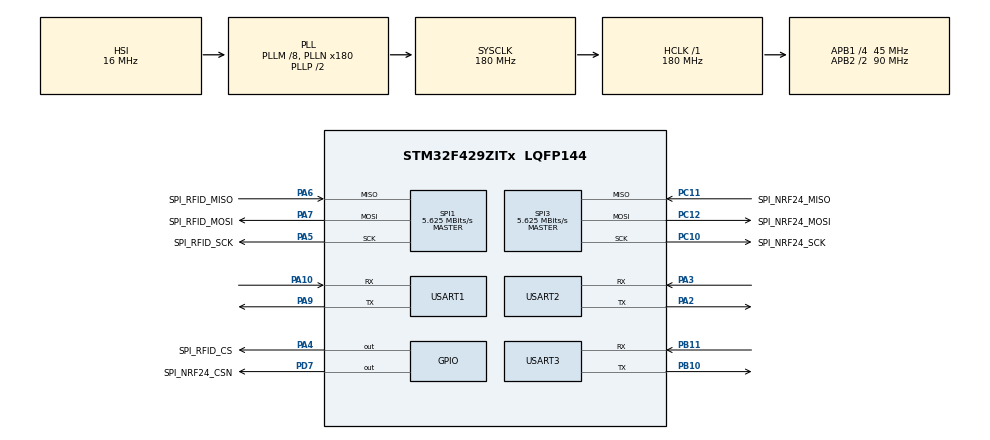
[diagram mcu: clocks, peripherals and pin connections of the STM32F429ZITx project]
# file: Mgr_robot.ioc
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Mcu.Family=STM32F4
Mcu.Name=STM32F429ZITx
Mcu.Package=LQFP144
NVIC.PriorityGroup=NVIC_PRIORITYGROUP_4
NVIC.SPI1_IRQn=true\:0\:0\:false\:true\:true\:1\:true\:true
NVIC.SPI3_IRQn=true\:0\:0\:false\:true\:true\:5\:true\:true
NVIC.USART1_IRQn=true\:0\:0\:false\:true\:true\:2\:true\:true
NVIC.USART2_IRQn=true\:0\:0\:false\:true\:true\:3\:true\:true
NVIC.USART3_IRQn=true\:0\:0\:false\:true\:true\:4\:true\:true
PA10.Mode=Asynchronous
PA10.Signal=USART1_RX
PA2.Mode=Asynchronous
PA2.Signal=USART2_TX
PA3.Mode=Asynchronous
PA3.Signal=USART2_RX
PA4.GPIO_Label=SPI_RFID_CS
PA4.Signal=GPIO_Output
PA5.GPIO_Label=SPI_RFID_SCK
PA5.Mode=Full_Duplex_Master
PA5.Signal=SPI1_SCK
PA6.GPIO_Label=SPI_RFID_MISO
PA6.Mode=Full_Duplex_Master
PA6.Signal=SPI1_MISO
PA7.GPIO_Label=SPI_RFID_MOSI
PA7.Mode=Full_Duplex_Master
PA7.Signal=SPI1_MOSI
PA9.Mode=Asynchronous
PA9.Signal=USART1_TX
PB10.Mode=Asynchronous
PB10.Signal=USART3_TX
PB11.Mode=Asynchronous
PB11.Signal=USART3_RX
PC10.GPIO_Label=SPI_NRF24_SCK
PC10.Mode=Full_Duplex_Master
PC10.Signal=SPI3_SCK
PC11.GPIO_Label=SPI_NRF24_MISO
PC11.Mode=Full_Duplex_Master
PC11.Signal=SPI3_MISO
PC12.GPIO_Label=SPI_NRF24_MOSI
PC12.Mode=Full_Duplex_Master
PC12.Signal=SPI3_MOSI
PD7.GPIO_Label=SPI_NRF24_CSN
PD7.Signal=GPIO_Output
ProjectManager.HeapSize=0x200
ProjectManager.StackSize=0x400
ProjectManager.TargetToolchain=TrueSTUDIO
RCC.48MHZClocksFreq_Value=90000000
RCC.AHBFreq_Value=180000000
RCC.APB1CLKDivider=RCC_HCLK_DIV4
RCC.APB1Freq_Value=45000000
RCC.APB1TimFreq_Value=90000000
RCC.APB2CLKDivider=RCC_HCLK_DIV2
RCC.APB2Freq_Value=90000000
RCC.APB2TimFreq_Value=180000000
RCC.CortexFreq_Value=180000000
RCC.HCLKFreq_Value=180000000
RCC.HSE_VALUE=25000000
RCC.HSI_VALUE=16000000
RCC.LSE_VALUE=32768
RCC.PLLM=8
RCC.PLLN=180
RCC.SYSCLKFreq_VALUE=180000000
RCC.SYSCLKSource=RCC_SYSCLKSOURCE_PLLCLK
RCC.VCOOutputFreq_Value=360000000
SPI1.BaudRatePrescaler=SPI_BAUDRATEPRESCALER_16
SPI1.CalculateBaudRate=5.625 MBits/s
SPI1.Direction=SPI_DIRECTION_2LINES
SPI1.Mode=SPI_MODE_MASTER
SPI1.VirtualType=VM_MASTER
SPI3.BaudRatePrescaler=SPI_BAUDRATEPRESCALER_8
SPI3.CalculateBaudRate=5.625 MBits/s
SPI3.Direction=SPI_DIRECTION_2LINES
SPI3.Mode=SPI_MODE_MASTER
SPI3.VirtualType=VM_MASTER
USART1.VirtualMode=VM_ASYNC
USART2.VirtualMode=VM_ASYNC
USART3.VirtualMode=VM_ASYNC
board=custom

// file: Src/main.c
/* USER CODE BEGIN Header */
/**
 ******************************************************************************
 * @file           : main.c
 * @brief          : Main program body
 ******************************************************************************
 ** This notice applies to any and all portions of this file
 * that are not between comment pairs USER CODE BEGIN and
 * USER CODE END. Other portions of this file, whether
 * inserted by the user or by software development tools
 * are owned by their respective copyright owners.
 *
 * COPYRIGHT(c) 2018 STMicroelectronics
 *
 * Redistribution and use in source and binary forms, with or without modification,
 * are permitted provided that the following conditions are met:
 *   1. Redistributions of source code must retain the above copyright notice,
 *      this list of conditions and the following disclaimer.
 *   2. Redistributions in binary form must reproduce the above copyright notice,
 *      this list of conditions and the following disclaimer in the documentation
 *      and/or other materials provided with the distribution.
 *   3. Neither the name of STMicroelectronics nor the names of its contributors
 *      may be used to endorse or promote products derived from this software
 *      without specific prior written permission.
 *
 * THIS SOFTWARE IS PROVIDED BY THE COPYRIGHT HOLDERS AND CONTRIBUTORS "AS IS"
 * AND ANY EXPRESS OR IMPLIED WARRANTIES, INCLUDING, BUT NOT LIMITED TO, THE
 * IMPLIED WARRANTIES OF MERCHANTABILITY AND FITNESS FOR A PARTICULAR PURPOSE ARE
 * DISCLAIMED. IN NO EVENT SHALL THE COPYRIGHT HOLDER OR CONTRIBUTORS BE LIABLE
 * FOR ANY DIRECT, INDIRECT, INCIDENTAL, SPECIAL, EXEMPLARY, OR CONSEQUENTIAL
 * DAMAGES (INCLUDING, BUT NOT LIMITED TO, PROCUREMENT OF SUBSTITUTE GOODS OR
 * SERVICES; LOSS OF USE, DATA, OR PROFITS; OR BUSINESS INTERRUPTION) HOWEVER
 * CAUSED AND ON ANY THEORY OF LIABILITY, WHETHER IN CONTRACT, STRICT LIABILITY,
 * OR TORT (INCLUDING NEGLIGENCE OR OTHERWISE) ARISING IN ANY WAY OUT OF THE USE
 * OF THIS SOFTWARE, EVEN IF ADVISED OF THE POSSIBILITY OF SUCH DAMAGE.
 *
 ******************************************************************************
 */
/* USER CODE END Header */

#include "main.h"
#include "gfxsimulator.h"
#include "spi.h"
#include "usart.h"
#include "gpio.h"

/* USER CODE BEGIN Includes */
#include "RC522_driver.h"

/* USER CODE END Includes */

/* USER CODE BEGIN PD */
#define Send	1
#define Receive	0
/* USER CODE END PD */

/* USER CODE BEGIN PV */
uint8_t Mode = Receive;
//uint8_t Mode = Receive;

extern uint8_t RX_BUF[];
extern uint8_t TX_BUF[];

uint8_t data[] = "HELLO WORLD\n"; // transmit
// variable RFID
uint8_t datawaiting[] = "Waiting for RFID Card...!\n\r";
unsigned char CardID[4];
unsigned char MyID[7] = { 0x6A, 0x08, 0xE7, 0xAB, 0x2E, 0xAB, 0xCD };	//My card on my keys

/* USER CODE END PV */

void SystemClock_Config(void);
static void MX_NVIC_Init(void);
/* USER CODE BEGIN PFP */
void  Delay (uint32_t nCount);

/* USER CODE END PFP */

int main(void)
{

  /* MCU Configuration--------------------------------------------------------*/

  /* Reset of all peripherals, Initializes the Flash interface and the Systick. */
  HAL_Init();

  /* Configure the system clock */
  SystemClock_Config();

  /* USER CODE BEGIN SysInit */
	printf(" System start!\n\r");
	printf(" HAL Init\n\r");
  printf(" SystemClock_Config\n\r");
  printf(" Initialize all configured peripherals\n\r");
  /* USER CODE END SysInit */

  /* Initialize all configured peripherals */
  MX_GPIO_Init();
  MX_SPI1_Init();
  MX_SPI3_Init();
  MX_USART1_UART_Init();
  MX_USART3_UART_Init();
  MX_USART2_UART_Init();
  MX_GFXSIMULATOR_Init();

  /* Initialize interrupts */
  MX_NVIC_Init();
  /* USER CODE BEGIN 2 */
//	MFRC522_Init();
	printf(" MFRC522_Init\n\r");

	//printf(" Waiting for RFID Card...!\n\r");

//	nRF24L01_Initial();
//	printf(" nRF24L01_Initial\n\r");
//	if (Mode == Send)
//	{
//		printf("nRF24L01发�?模式\r\n");
//
//	}
//	else if (Mode == Receive)
//	{
//		RX_Mode();
//		printf("nRF24L01接收模式\r\n");
//	}
  /* USER CODE END 2 */

  /* Infinite loop */
  /* USER CODE BEGIN WHILE */
	while (1)
	{

		if (MFRC522_Check(CardID) == MI_OK)
		{
			printf("[%02x-%02x-%02x-%02x] \r\n", CardID[0], CardID[1], CardID[2],
					CardID[3]);
			HAL_UART_Transmit_IT(&huart2, CardID, sizeof(CardID));
		}
		else
		{
			printf("Nie wykryto karty \r\n");
		}
		HAL_Delay(100);
//		if(Mode == Send)
//		{
//
//			//TX_Mode();
//			TX_BUF[0] = 1;
//			TX_BUF[0] = 2;
//			TX_BUF[0] = 3;
//			TX_BUF[0] = 4;
//			TX_BUF[0] = 5;
//			TX_BUF[0] = 0;
//
//			NRF24L01_Send();
//		}
//		else if (Mode == Receive)
//		{
//			NRF24L01_Receive();
//		}

		HAL_UART_Transmit_IT(&huart2, datawaiting, sizeof(datawaiting));
		HAL_UART_Transmit_IT(&huart1,MyID,sizeof(MyID));
    /* USER CODE END WHILE */

	}
}

void SystemClock_Config(void)
{
  RCC_OscInitTypeDef RCC_OscInitStruct = {0};
  RCC_ClkInitTypeDef RCC_ClkInitStruct = {0};

  /** Configure the main internal regulator output voltage
  */
  __HAL_RCC_PWR_CLK_ENABLE();
  __HAL_PWR_VOLTAGESCALING_CONFIG(PWR_REGULATOR_VOLTAGE_SCALE1);
  /** Initializes the CPU, AHB and APB busses clocks
  */
  RCC_OscInitStruct.OscillatorType = RCC_OSCILLATORTYPE_HSI;
  RCC_OscInitStruct.HSIState = RCC_HSI_ON;
  RCC_OscInitStruct.HSICalibrationValue = RCC_HSICALIBRATION_DEFAULT;
  RCC_OscInitStruct.PLL.PLLState = RCC_PLL_ON;
  RCC_OscInitStruct.PLL.PLLSource = RCC_PLLSOURCE_HSI;
  RCC_OscInitStruct.PLL.PLLM = 8;
  RCC_OscInitStruct.PLL.PLLN = 180;
  RCC_OscInitStruct.PLL.PLLP = RCC_PLLP_DIV2;
  RCC_OscInitStruct.PLL.PLLQ = 4;
  if (HAL_RCC_OscConfig(&RCC_OscInitStruct) != HAL_OK)
  {
    Error_Handler();
  }
  /** Activate the Over-Drive mode
  */
  if (HAL_PWREx_EnableOverDrive() != HAL_OK)
  {
    Error_Handler();
  }
  /** Initializes the CPU, AHB and APB busses clocks
  */
  RCC_ClkInitStruct.ClockType = RCC_CLOCKTYPE_HCLK|RCC_CLOCKTYPE_SYSCLK
                              |RCC_CLOCKTYPE_PCLK1|RCC_CLOCKTYPE_PCLK2;
  RCC_ClkInitStruct.SYSCLKSource = RCC_SYSCLKSOURCE_PLLCLK;
  RCC_ClkInitStruct.AHBCLKDivider = RCC_SYSCLK_DIV1;
  RCC_ClkInitStruct.APB1CLKDivider = RCC_HCLK_DIV4;
  RCC_ClkInitStruct.APB2CLKDivider = RCC_HCLK_DIV2;

  if (HAL_RCC_ClockConfig(&RCC_ClkInitStruct, FLASH_LATENCY_5) != HAL_OK)
  {
    Error_Handler();
  }
}

/**
  * @brief NVIC Configuration.
  * @retval None
  */
static void MX_NVIC_Init(void)
{
  /* SPI1_IRQn interrupt configuration */
  HAL_NVIC_SetPriority(SPI1_IRQn, 0, 0);
  HAL_NVIC_EnableIRQ(SPI1_IRQn);
  /* USART1_IRQn interrupt configuration */
  HAL_NVIC_SetPriority(USART1_IRQn, 0, 0);
  HAL_NVIC_EnableIRQ(USART1_IRQn);
  /* USART2_IRQn interrupt configuration */
  HAL_NVIC_SetPriority(USART2_IRQn, 0, 0);
  HAL_NVIC_EnableIRQ(USART2_IRQn);
  /* USART3_IRQn interrupt configuration */
  HAL_NVIC_SetPriority(USART3_IRQn, 0, 0);
  HAL_NVIC_EnableIRQ(USART3_IRQn);
  /* SPI3_IRQn interrupt configuration */
  HAL_NVIC_SetPriority(SPI3_IRQn, 0, 0);
  HAL_NVIC_EnableIRQ(SPI3_IRQn);
}

/* USER CODE BEGIN 4 */
void  Delay (uint32_t nCount)
{
  for(; nCount != 0; nCount--);
}
/* USER CODE END 4 */

void Error_Handler(void)
{
}

/************************ (C) COPYRIGHT STMicroelectronics *****END OF FILE****/
